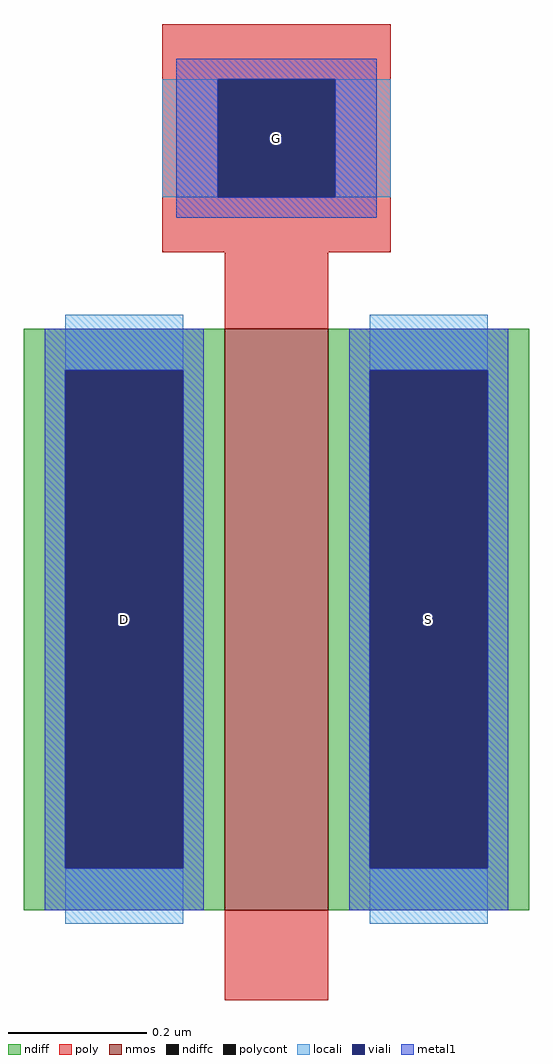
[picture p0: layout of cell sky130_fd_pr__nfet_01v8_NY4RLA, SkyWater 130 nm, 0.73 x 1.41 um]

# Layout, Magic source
magic
tech sky130A
magscale 1 2
<< nmos >>
rect -15 -115 15 53
<< ndiff >>
rect -73 41 -15 53
rect -73 -103 -61 41
rect -27 -103 -15 41
rect -73 -115 -15 -103
rect 15 41 73 53
rect 15 -103 27 41
rect 61 -103 73 41
rect 15 -115 73 -103
<< ndiffc >>
rect -61 -103 -27 41
rect 27 -103 61 41
<< poly >>
rect -33 125 33 141
rect -33 91 -17 125
rect 17 91 33 125
rect -33 75 33 91
rect -15 53 15 75
rect -15 -141 15 -115
<< polycont >>
rect -17 91 17 125
<< locali >>
rect -33 91 -17 125
rect 17 91 33 125
rect -61 41 -27 57
rect -61 -119 -27 -103
rect 27 41 61 57
rect 27 -119 61 -103
<< viali >>
rect -17 91 17 125
rect -61 -103 -27 41
rect 27 -103 61 41
<< metal1 >>
rect -29 125 29 131
rect -29 91 -17 125
rect 17 91 29 125
rect -29 85 29 91
rect -67 41 -21 53
rect -67 -103 -61 41
rect -27 -103 -21 41
rect -67 -115 -21 -103
rect 21 41 67 53
rect 21 -103 27 41
rect 61 -103 67 41
rect 21 -115 67 -103
<< labels >>
rlabel ndiffc -44 -31 -44 -31 0 D
port 4 nsew
rlabel ndiffc 44 -31 44 -31 0 S
port 5 nsew
rlabel polycont 0 108 0 108 0 G
port 6 nsew
<< properties >>
string gencell sky130_fd_pr__nfet_01v8
string library sky130
string parameters w 0.84 l 0.15 m 1 nf 1 diffcov 100 polycov 100 guard 0 glc 0 grc 0 gtc 0 gbc 0 tbcov 100 rlcov 100 topc 1 botc 0 poverlap 0 doverlap 1 lmin 0.15 wmin 0.42 class mosfet compatible {sky130_fd_pr__nfet_01v8 sky130_fd_pr__nfet_01v8_lvt  sky130_fd_bs_flash__special_sonosfet_star  sky130_fd_pr__nfet_g5v0d10v5 sky130_fd_pr__nfet_05v0_nvt  sky130_fd_pr__nfet_03v3_nvt} full_metal 1 viasrc 100 viadrn 100 viagate 100 viagb 0 viagr 0 viagl 0 viagt 0 doports 1
<< end >>
